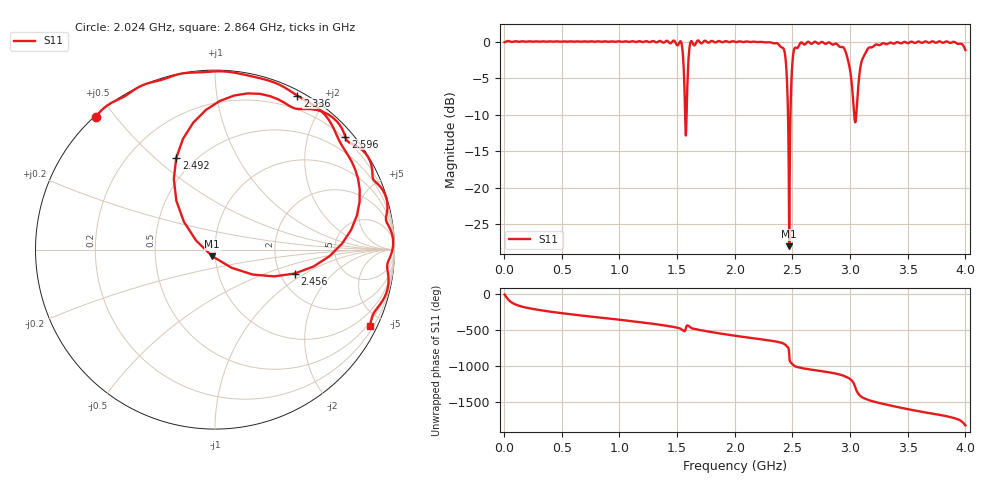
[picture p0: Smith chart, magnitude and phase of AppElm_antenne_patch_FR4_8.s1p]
! TOUCHSTONE file generated by CST MICROWAVE STUDIO
! Date and time: Tue Jun 14 13:15:16 2022
! Project name: AppElm_antenne_patch_FR4.cst
! Parameters = {L=45; W=58.5; e=0.035; h=1.6; lambda=0.190476; ls=120; w0=2.54; w1=0.847; ws=120; y0=19.8; y1=23.8}
! Header version: 2018
! Port assignment regex: !\s*Touchstone port\s*([0-9]+)\s*=\s*(CST MWS port|CST DS port)\s*([0-9]+|Zmin|Zmax)\s*\(\"(.*)\"\)(\s*mode\s*([0-9]+))?.*
! Touchstone port assignment:
! Touchstone port 1 = CST MWS port 1 ("")
# GHz S MA R 50
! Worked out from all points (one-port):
!   1000 points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, 4 MHz to 4 GHz, reference 50 ohm
!   lowest |S11| = -28.0 dB at 2.472 GHz (marker M1), VSWR 1.08, Z = 48.4 - j3.57 ohm
!   |S11| at or under -10 dB: 1.57 GHz to 1.582 GHz (12.38 MHz wide, 0.786 % of centre); 2.461 GHz to 2.483 GHz (21.59 MHz wide, 0.873 % of centre); 3.036 GHz to 3.054 GHz (18.14 MHz wide, 0.596 % of centre)
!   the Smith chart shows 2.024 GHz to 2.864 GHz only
!   S11 on the Smith chart (normalised r, x): 2.024 GHz: 0.00, +0.45; 2.336 GHz: 0.05, +1.67; 2.456 GHz: 2.40, -0.82; 2.492 GHz: 0.40, +0.59; 2.596 GHz: 0.16, +2.67; 2.864 GHz: 0.38, -4.25
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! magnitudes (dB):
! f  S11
! 4 MHz  -0.1
! 504 MHz  0.0
! 1.004 GHz  0.0
! 1.504 GHz  -0.5
! 1.536 GHz  -0.1
! 1.576 GHz  -12.9
! 1.588 GHz  -6.5
! 1.612 GHz  -0.3
! 1.628 GHz  0.0
! 2.004 GHz  -0.1
! 2.024 GHz  0.0
! 2.336 GHz  -0.2
! 2.428 GHz  -1.2
! 2.444 GHz  -3.0
! 2.456 GHz  -6.7
! 2.472 GHz  -28.0
! 2.492 GHz  -5.1
! 2.504 GHz  -2.2
! 2.524 GHz  -0.8
! 2.596 GHz  -0.3
! 2.864 GHz  -0.3
! 2.952 GHz  -1.0
! 3.004 GHz  -4.4
! 3.044 GHz  -11.1
! 3.096 GHz  -3.0
! 3.152 GHz  -1.0
! 3.504 GHz  -0.2
! 4 GHz  -1.2
